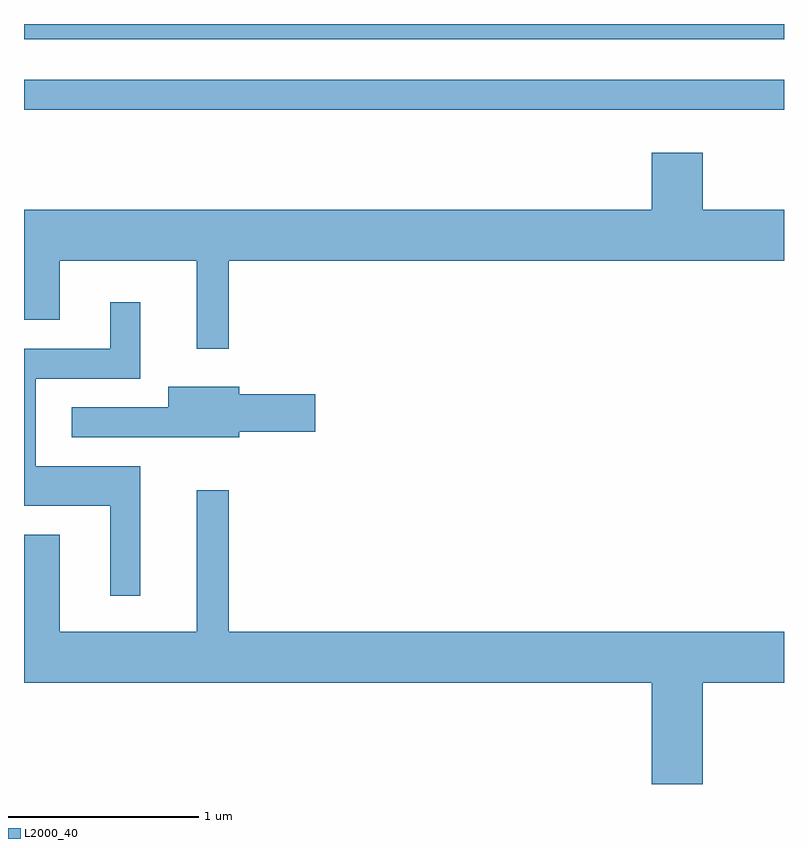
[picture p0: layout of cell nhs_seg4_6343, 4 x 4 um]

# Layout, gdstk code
import gdstk
lib = gdstk.Library(unit=1e-6, precision=1e-09)
def R(c, l, rs):  # rectangles x0, y0, x1, y1
    for r in rs: c.add(gdstk.rectangle(r[:2], r[2:], *l))
def P(c, l, *ps):  # polygons
    for p in ps: c.add(gdstk.Polygon(p, *l))
L2000_40 = (2000, 40)

nhs_seg4_6343 = lib.new_cell('nhs_seg4_6343')
R(nhs_seg4_6343, L2000_40, [(371.611,1295.531,375.611,1295.689), (371.611,1295.901,375.611,1295.982)])
P(nhs_seg4_6343, L2000_40, [(372.689,1294.736),(375.611,1294.736),(375.611,1295.004),(375.184,1295.004),(375.184,1295.304),(374.916,1295.304),(374.916,1295.004),(371.611,1295.004),(371.611,1294.426),(371.799,1294.426),(371.799,1294.736),(372.521,1294.736),(372.521,1294.273),(372.689,1294.273)],
  [(372.224,1293.654),(371.674,1293.654),(371.674,1294.116),(372.224,1294.116),(372.224,1294.518),(372.066,1294.518),(372.066,1294.274),(371.611,1294.274),(371.611,1293.446),(372.066,1293.446),(372.066,1292.973),(372.224,1292.973)],
  [(372.744,1293.836),(373.144,1293.836),(373.144,1294.034),(372.744,1294.034),(372.744,1294.074),(372.371,1294.074),(372.371,1293.964),(371.863,1293.964),(371.863,1293.806),(372.744,1293.806)],
  [(375.184,1292.516),(375.611,1292.516),(375.611,1292.784),(372.689,1292.784),(372.689,1293.528),(372.521,1293.528),(372.521,1292.784),(371.799,1292.784),(371.799,1293.294),(371.611,1293.294),(371.611,1292.516),(374.916,1292.516),(374.916,1291.982),(375.184,1291.982)])

lib.write_gds('nhs_seg4_6343.gds')
